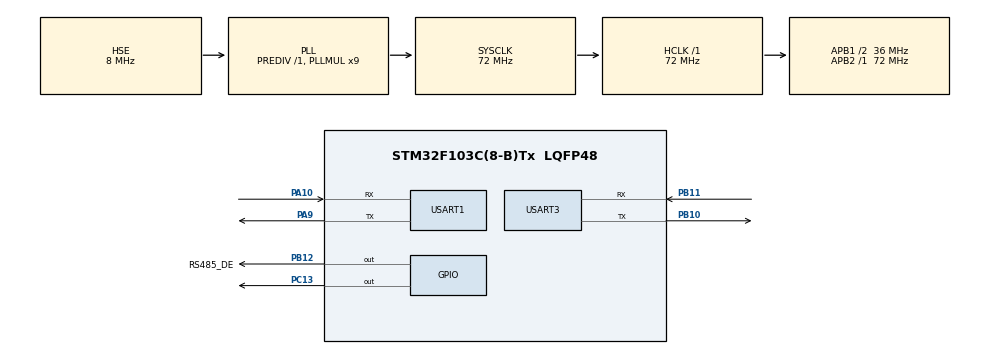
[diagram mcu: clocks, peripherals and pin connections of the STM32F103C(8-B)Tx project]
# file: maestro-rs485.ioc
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Mcu.Family=STM32F1
Mcu.Name=STM32F103C(8-B)Tx
Mcu.Package=LQFP48
NVIC.PriorityGroup=NVIC_PRIORITYGROUP_4
NVIC.USART1_IRQn=true\:0\:0\:false\:false\:true\:true\:true\:true
NVIC.USART3_IRQn=true\:0\:0\:false\:false\:true\:true\:true\:true
PA10.Mode=Asynchronous
PA10.Signal=USART1_RX
PA9.Mode=Asynchronous
PA9.Signal=USART1_TX
PB10.Mode=Asynchronous
PB10.Signal=USART3_TX
PB11.Mode=Asynchronous
PB11.Signal=USART3_RX
PB12.GPIO_Label=RS485_DE
PB12.Signal=GPIO_Output
PC13-TAMPER-RTC.Signal=GPIO_Output
PD0-OSC_IN.Mode=HSE-External-Oscillator
PD0-OSC_IN.Signal=RCC_OSC_IN
PD1-OSC_OUT.Mode=HSE-External-Oscillator
PD1-OSC_OUT.Signal=RCC_OSC_OUT
ProjectManager.HeapSize=0x200
ProjectManager.StackSize=0x400
ProjectManager.TargetToolchain=STM32CubeIDE
RCC.AHBFreq_Value=72000000
RCC.APB1CLKDivider=RCC_HCLK_DIV2
RCC.APB1Freq_Value=36000000
RCC.APB1TimFreq_Value=72000000
RCC.APB2Freq_Value=72000000
RCC.APB2TimFreq_Value=72000000
RCC.HCLKFreq_Value=72000000
RCC.PLLMUL=RCC_PLL_MUL9
RCC.PLLSourceVirtual=RCC_PLLSOURCE_HSE
RCC.SYSCLKFreq_VALUE=72000000
RCC.SYSCLKSource=RCC_SYSCLKSOURCE_PLLCLK
RCC.USBFreq_Value=72000000
USART1.VirtualMode=VM_ASYNC
USART3.VirtualMode=VM_ASYNC
VP_SYS_VS_ND.Mode=No_Debug
board=custom

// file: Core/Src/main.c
/* USER CODE BEGIN Header */

/* USER CODE END Header */
#include "main.h"
#include "usart.h"
#include "gpio.h"

/* USER CODE BEGIN Includes */
#include "rs485.h"
#include "protocolo_rs485.h"
#include <stdint.h>
#include <stdio.h>
#include <string.h>
/* USER CODE END Includes */

/* USER CODE BEGIN PTD */

typedef enum
{
	M_INACTIVO = 0,
	M_ACTIVO = 1,
	M_ALARMA = 2
} EstadoMaestro;

/* USER CODE END PTD */

/* USER CODE BEGIN PD */
#define PC_CMD_BUFFER_SIZE       24

#define RESPUESTA_TIMEOUT_MS          1000
#define RESPUESTA_TIMEOUT_LARGO_MS    10000 //para las operaciones de la cinta que pueden tardar mas

#define PING_PARAM_H             0x12
#define PING_PARAM_L             0x34

#define POLLING_PERIODO_MS            50
#define POLLING_TIMEOUT_MS            100

#define SUPERVISION_PERIODO_MS 500
/* USER CODE END PD */

/* USER CODE BEGIN PV */
static EstadoMaestro estado_maestro = M_INACTIVO;

//variables para recibir comandos por la USART1
static uint8_t pc_rx_byte = 0;
static char pc_cmd_buffer[PC_CMD_BUFFER_SIZE];
static volatile uint8_t pc_cmd_indice = 0;
static volatile uint8_t pc_recibiendo = 0;
static volatile uint8_t pc_comando_listo = 0;

//variables para el RS485
static uint8_t esperando_respuesta = 0; //1 → ya mandamos algo
static uint8_t nodo_esperado = 0;
static uint8_t comando_pendiente = 0;
static uint16_t valor_pendiente = 0; //guarda el valor de 16 bits que hay en PARAM_L y PARAM_H
static uint32_t tick_respuesta = 0;
static uint32_t timeout_respuesta_ms = RESPUESTA_TIMEOUT_MS;
static char mensaje_pc[160]; //buffer auxiliar para construir textos con snprintf() y mostrar por pantalla

//variables manejo de eventos nodos
static uint8_t ack_evento_cinta_pendiente = 0;
static uint16_t ack_evento_cinta_secuencia = 0;
static uint16_t ultima_secuencia_evento_cinta = 0;
static uint8_t ultima_secuencia_evento_cinta_valida = 0;  //para no ejecutar dos veces la misma accion automática

static uint8_t ack_evento_peso_cinta_pendiente = 0;
static uint16_t ack_evento_peso_cinta_valor = 0;
static uint8_t peso_evento_ciclo_actual_mostrado = 0;

static uint8_t ack_evento_tanque_pendiente = 0;
static uint16_t ack_evento_tanque_secuencia = 0;
static uint16_t ultima_secuencia_evento_tanque = 0;
static uint8_t ultima_secuencia_evento_tanque_valida = 0;

static uint8_t inicio_dosif_automatico_pendiente = 0;
static uint8_t continuar_cinta_automatico_pendiente = 0;
static uint8_t ciclo_esperando_receta = 0;

static uint8_t nodo_polling_siguiente = ID_CINTA;
static uint32_t tick_polling = 0;

static uint32_t tick_supervision = 0;
static uint8_t nodo_supervision_siguiente = ID_TANQUE;
static uint8_t flag_consulta_supervision = 0;

static uint8_t parada_sistema_etapa = 0; //convierte la parada global en una pequeña secuencia

/* USER CODE END PV */

void SystemClock_Config(void);
/* USER CODE BEGIN PFP */
static void PC_Enviar(const char *texto);
static uint8_t PC_Parsear_UInt16(const char *texto, uint16_t *valor);
static void PC_Procesar_Comando(void);

static void Maestro_Enviar_Trama(uint8_t destino, uint8_t comando, uint8_t param_h, uint8_t param_l, const char *mensaje);
static void Maestro_Procesar_RS485(void);
static void Maestro_Procesar_Polling(void);
static void Maestro_Procesar_Timeout(void);
static uint8_t Maestro_Procesar_ACK_NACK(uint8_t origen,uint8_t comando,uint8_t param_h,uint8_t param_l);

static const char *Maestro_Nombre_Comando(uint8_t comando);
static const char *Maestro_Descripcion_Error(uint8_t codigo);
static const char *Maestro_Nombre_Alarma_Tanque(uint8_t alarma);
static const char *Maestro_Nombre_Estado_Dosificador(uint8_t estado);
static const char *Maestro_Nombre_Presencia_Botella(uint8_t presente);
static const char *Maestro_Nombre_Estado_Cinta(uint8_t estado);
static const char *Maestro_Nombre_Subestado_Cinta(uint8_t subestado);

static void Maestro_Confirmar_Evento_Cinta(void);
static void Maestro_Confirmar_Evento_Peso_Cinta(void);
static void Maestro_Confirmar_Evento_Tanque(void);
static void Maestro_Procesar_Inicio_Dosif_Automatico(void);
static void Maestro_Procesar_Continuacion_Cinta_Automatica(void);

static void Maestro_Entrar_Alarma(const char *motivo);
static void Maestro_Procesar_Parada_Sistema(void);
/* USER CODE END PFP */

int main(void)
{

  /* MCU Configuration--------------------------------------------------------*/

  /* Reset of all peripherals, Initializes the Flash interface and the Systick. */
  HAL_Init();

  /* Configure the system clock */
  SystemClock_Config();

  /* Initialize all configured peripherals */
  MX_GPIO_Init();
  MX_USART1_UART_Init();
  MX_USART3_UART_Init();
  /* USER CODE BEGIN 2 */

    if (RS485_Init(&huart3, RS485_DE_GPIO_Port, RS485_DE_Pin, ID_MAESTRO) != HAL_OK)
    {
        Error_Handler();
    }

    if (HAL_UART_Receive_IT(&huart1, &pc_rx_byte, 1) != HAL_OK)
    {
        Error_Handler();
    }

    PC_Enviar("\r\nMAESTRO RS485 INICIADO\r\n");

    PC_Enviar(":MN    = ESTADO GENERAL DEL MAESTRO\r\n");
    PC_Enviar(":MA1   = ACTIVAR SISTEMA\r\n");
    PC_Enviar(":MA0   = DESACTIVAR SISTEMA\r\n");
    PC_Enviar(":MR1   = RESETEAR ALARMA\r\n");

    PC_Enviar(":TP    = PING TANQUE\r\n");
    PC_Enviar(":TN    = ESTADO TANQUE\r\n");
    PC_Enviar(":TM    = ESTADO DOSIFICADOR\r\n");
    PC_Enviar(":TS15  = SETPOINT TANQUE 15 cm\r\n");
    PC_Enviar(":TR500 = RECETA 500 ml\r\n");
    PC_Enviar(":TI1   = INICIAR DOSIFICACION\r\n");
    PC_Enviar(":TI0   = ABORTAR DOSIFICACION\r\n");
    PC_Enviar(":TA1   = RESETEAR ALARMA\r\n");

    PC_Enviar(":CP    = PING CINTA\r\n");
    PC_Enviar(":CN    = ESTADO CINTA\r\n");
    PC_Enviar(":CC1   = ENTRAR EN CONFIGURACION CINTA\r\n");
    PC_Enviar(":CT1   = HACER TARA\r\n");
    PC_Enviar(":CF500 = CALIBRAR CON 500 g\r\n");
    PC_Enviar(":CA1   = ACTIVAR CINTA\r\n");
    PC_Enviar(":CA0   = DESACTIVAR CINTA\r\n");
    PC_Enviar(":CB1   = ARRANCAR BANDA\r\n");
    PC_Enviar(":CB0   = DETENER BANDA\r\n");
    PC_Enviar(":CD1   = CONTINUAR PESAJE\r\n");

  /* USER CODE END 2 */

  /* Infinite loop */
  while (1)
  {

    /* USER CODE BEGIN 3 */
        Maestro_Procesar_RS485(); //recepcion de tramas
        Maestro_Procesar_Timeout();

        Maestro_Procesar_Parada_Sistema();  //si hay hay que realizar una parada lo hacemos

        Maestro_Confirmar_Evento_Cinta();
        Maestro_Procesar_Inicio_Dosif_Automatico();

        Maestro_Confirmar_Evento_Tanque();
        Maestro_Procesar_Continuacion_Cinta_Automatica();

        Maestro_Confirmar_Evento_Peso_Cinta();

        //procesar comando del usuario si el RS485 está libre y no hay acciones automáticas importantes pendientes.
        if ((pc_comando_listo != 0) && (esperando_respuesta == 0) && (ack_evento_cinta_pendiente == 0) &&
        		(ack_evento_peso_cinta_pendiente == 0) && (ack_evento_tanque_pendiente == 0) && (inicio_dosif_automatico_pendiente == 0) &&
                (continuar_cinta_automatico_pendiente == 0))
		{
			pc_comando_listo = 0;
			PC_Procesar_Comando();
		}

        Maestro_Procesar_Polling();
  /* USER CODE END 3 */
  }
}

void SystemClock_Config(void)
{
  RCC_OscInitTypeDef RCC_OscInitStruct = {0};
  RCC_ClkInitTypeDef RCC_ClkInitStruct = {0};

  /** Initializes the RCC Oscillators according to the specified parameters
  * in the RCC_OscInitTypeDef structure.
  */
  RCC_OscInitStruct.OscillatorType = RCC_OSCILLATORTYPE_HSE;
  RCC_OscInitStruct.HSEState = RCC_HSE_ON;
  RCC_OscInitStruct.HSEPredivValue = RCC_HSE_PREDIV_DIV1;
  RCC_OscInitStruct.HSIState = RCC_HSI_ON;
  RCC_OscInitStruct.PLL.PLLState = RCC_PLL_ON;
  RCC_OscInitStruct.PLL.PLLSource = RCC_PLLSOURCE_HSE;
  RCC_OscInitStruct.PLL.PLLMUL = RCC_PLL_MUL9;
  if (HAL_RCC_OscConfig(&RCC_OscInitStruct) != HAL_OK)
  {
    Error_Handler();
  }

  /** Initializes the CPU, AHB and APB buses clocks
  */
  RCC_ClkInitStruct.ClockType = RCC_CLOCKTYPE_HCLK|RCC_CLOCKTYPE_SYSCLK
                              |RCC_CLOCKTYPE_PCLK1|RCC_CLOCKTYPE_PCLK2;
  RCC_ClkInitStruct.SYSCLKSource = RCC_SYSCLKSOURCE_PLLCLK;
  RCC_ClkInitStruct.AHBCLKDivider = RCC_SYSCLK_DIV1;
  RCC_ClkInitStruct.APB1CLKDivider = RCC_HCLK_DIV2;
  RCC_ClkInitStruct.APB2CLKDivider = RCC_HCLK_DIV1;

  if (HAL_RCC_ClockConfig(&RCC_ClkInitStruct, FLASH_LATENCY_2) != HAL_OK)
  {
    Error_Handler();
  }
}

/* USER CODE BEGIN 4 */

static void PC_Enviar(const char *texto)
{
    if (texto == NULL)
    {
        return;
    }

    (void)HAL_UART_Transmit(&huart1, (uint8_t *)texto, (uint16_t)strlen(texto), 100U);
}

static uint8_t PC_Parsear_UInt16(const char *texto, uint16_t *valor) //para convertir texto a numeros "1234" → 1234
{
    uint32_t acumulado = 0; //auxiliar para detectar si se pasa del tamaño

    if ((texto == NULL) || (valor == NULL) || (*texto == '\0'))
    {
        return 0;
    }

    while (*texto != '\0') //recorrer la cadena hasta el final
    {
        uint32_t digito;

        if ((*texto < '0') || (*texto > '9')) //comprobamos que sea un numero
        {
            return 0;
        }

        digito = (uint32_t)(*texto - '0');  //conversion a numero

        if (acumulado > ((65535 - digito) / 10)) //para no superar el tamañno maximo permitido
        {
            return 0;
        }

        acumulado = (acumulado * 10) + digito;
        texto++;
    }

    *valor = (uint16_t)acumulado;
    return 1;
}

static void Maestro_Entrar_Alarma(const char *motivo)
{
    if (estado_maestro == M_ALARMA) //si ya esta en alarma
    {
        return;
    }

    estado_maestro = M_ALARMA;

    //cancela automatismos
    inicio_dosif_automatico_pendiente = 0;
    continuar_cinta_automatico_pendiente = 0;
    ciclo_esperando_receta = 0;

    parada_sistema_etapa = 1;    //bandera para iniciar la parada

    PC_Enviar("\r\n*** SISTEMA EN ALARMA ***\r\n");

    if (motivo != NULL)
    {
        (void)snprintf(mensaje_pc, sizeof(mensaje_pc), "CAUSA: %s\r\n", motivo);
        PC_Enviar(mensaje_pc);
    }
}

static void Maestro_Procesar_Parada_Sistema(void)
{
    if (parada_sistema_etapa == 0)  //si hay una secuencia de parada pendiente procesala, sino sali
    {
        return;
    }

    if (esperando_respuesta != 0) //si hay un mensaje esperando, volvems
    {
        return;
    }

    switch (parada_sistema_etapa)
    {
        case 1: //detener dosificador

            if (RS485_Send_Packet(ID_TANQUE, CMD_TANQUE_CONTROL_DOSIF, 0, 0) == HAL_OK)
            {
                esperando_respuesta = 1;
                nodo_esperado = ID_TANQUE;
                comando_pendiente = CMD_TANQUE_CONTROL_DOSIF;
                valor_pendiente = 0;

                tick_respuesta = HAL_GetTick();
                timeout_respuesta_ms = RESPUESTA_TIMEOUT_MS;

                parada_sistema_etapa = 2;
                PC_Enviar("PARADA -> TANQUE: ABORTAR DOSIFICACION\r\n");
            }

            break;

        case 2: //desactivar cinta

            if (RS485_Send_Packet(ID_CINTA, CMD_CINTA_ACTIVAR, 0, 0) == HAL_OK)
            {
                esperando_respuesta = 1;
                nodo_esperado = ID_CINTA;
                comando_pendiente = CMD_CINTA_ACTIVAR;
                valor_pendiente = 0;

                tick_respuesta = HAL_GetTick();
                timeout_respuesta_ms = RESPUESTA_TIMEOUT_MS;

                parada_sistema_etapa = 3;
                PC_Enviar("PARADA -> CINTA: DESACTIVAR\r\n");
            }

            break;

        case 3:

            parada_sistema_etapa = 0;
            PC_Enviar("*** SECUENCIA DE PARADA FINALIZADA ***\r\n");

            break;

        default:
            break;
    }
}

static void Maestro_Enviar_Trama(uint8_t destino, uint8_t comando, uint8_t param_h, uint8_t param_l, const char *mensaje)
{
    HAL_StatusTypeDef estado;

    if (esperando_respuesta != 0) //ver si esperaba una rta
    {
        PC_Enviar("ERROR: RS485 OCUPADO, ESPERE LA RESPUESTA ACTUAL\r\n");
        return;
    }

    //comprobamos que no existan confirmaciones o acciones AUTOM. pendientes
    if ((ack_evento_cinta_pendiente != 0) ||
        (ack_evento_peso_cinta_pendiente != 0) ||
        (ack_evento_tanque_pendiente != 0) ||
        (inicio_dosif_automatico_pendiente != 0) ||
        (continuar_cinta_automatico_pendiente != 0))
    {
        PC_Enviar("ERROR: ACCION AUTOMATICA PENDIENTE, ESPERE\r\n");
        return;
    }

    estado = RS485_Send_Packet(destino, comando, param_h, param_l);

    if (estado != HAL_OK)
    {
        PC_Enviar("ERROR: NO SE PUDO TRANSMITIR POR RS485\r\n");
        return;
    }

    //si se envia correctamente, guardamos todos estos datos en memoria para comprobar y sabemos perfectamente que respuesta esperamos
    esperando_respuesta = 1;
    nodo_esperado = destino;
    comando_pendiente = comando;
    valor_pendiente = (uint16_t)(((uint16_t)param_h << 8) | param_l);
    tick_respuesta = HAL_GetTick();

    if ((comando == CMD_CINTA_TARA) || (comando == CMD_CINTA_CALIBRAR))
    {
        timeout_respuesta_ms = RESPUESTA_TIMEOUT_LARGO_MS;
    }
    else
    {
        timeout_respuesta_ms = RESPUESTA_TIMEOUT_MS;
    }

    if (mensaje != NULL)
    {
        PC_Enviar(mensaje);
    }
}

static void PC_Procesar_Comando(void)
{
    char nodo;
    char comando;
    uint16_t valor = 0U;
    const char *parametro;

    if ((pc_cmd_buffer[0] == '\0') ||(pc_cmd_buffer[1] == '\0')){ //VERFICAMOS MENSAJE
        PC_Enviar("ERROR: COMANDO INCOMPLETO\r\n");
        return;
    }

    nodo = pc_cmd_buffer[0];
    comando = pc_cmd_buffer[1];
    parametro = &pc_cmd_buffer[2];

    if ((nodo >= 'a') && (nodo <= 'z')){ //convertimos a mayuscula
        nodo = (char)(nodo - ('a' - 'A'));
    }
    if ((comando >= 'a') && (comando <= 'z')){
        comando = (char)(comando - ('a' - 'A'));
    }

    switch (nodo) //identificamos nodo
    {
        case 'M': //maestro
            switch (comando)
            {
                case 'N': //estado de maestro
                    if (*parametro != '\0') {
                        PC_Enviar( "ERROR: :MN NO RECIBE PARAMETROS\r\n");
                        return;
                    }
                    switch (estado_maestro)
                    {
                        case M_INACTIVO:
                            PC_Enviar("MAESTRO: INACTIVO\r\n");
                            break;

                        case M_ACTIVO:
                            PC_Enviar("MAESTRO: ACTIVO\r\n");
                            break;

                        case M_ALARMA:
                            PC_Enviar("MAESTRO: ALARMA\r\n");
                            break;

                        default:
                            PC_Enviar(
                                "MAESTRO: ESTADO DESCONOCIDO\r\n"
                            );
                            break;
                    }
                    break;

                case 'A': //activar/desactivar sistema
                    if ((PC_Parsear_UInt16(parametro, &valor) == 0) ||(valor > 1))
                    {
                        PC_Enviar("ERROR: USE :MA0 O :MA1\r\n" ); //verificamos pametro correcto
                        return;
                    }
                    if (valor == 0) { //desactivar
                        if (estado_maestro == M_ALARMA)  {
                            PC_Enviar("ERROR: SISTEMA EN ALARMA.\r\n");
                            return;
                        }
                        inicio_dosif_automatico_pendiente = 0; //cancelar automaticos pendientes
                        continuar_cinta_automatico_pendiente = 0;
                        ciclo_esperando_receta = 0;

                        estado_maestro = M_INACTIVO;
                        parada_sistema_etapa = 1; //inicia secuencia de pararda
                        PC_Enviar("MAESTRO: SISTEMA INACTIVO\r\n");
                    } else { //activar
                        if (estado_maestro == M_ALARMA){
                            PC_Enviar( "ERROR: SISTEMA EN ALARMA.\r\n");
                            return;
                        }
                        estado_maestro = M_ACTIVO;

                        tick_polling = HAL_GetTick();//reiniciar polling
                        nodo_polling_siguiente = ID_CINTA;

                        PC_Enviar("MAESTRO: SISTEMA ACTIVO\r\n" );
                    }
                    break;

                case 'R': //reset alarma maestro
                    if ((PC_Parsear_UInt16(parametro, &valor) == 0) ||(valor != 1)) {
                        PC_Enviar( "ERROR: USE :MR1\r\n" );
                        return;
                    }
                    if (estado_maestro != M_ALARMA) {
                        PC_Enviar( "MAESTRO: NO HAY ALARMA ACTIVA\r\n" );
                        return;
                    }
                    parada_sistema_etapa = 0; //cancelamos secuencia de parada
                    estado_maestro = M_INACTIVO;

                    PC_Enviar("MAESTRO: ALARMA RESETEADA. SISTEMA INACTIVO\r\n"  );
                    break;

                default: //no existe comando
                    PC_Enviar("ERROR: COMANDO INVALIDO PARA MAESTRO\r\n" );
                    break;
            }
            break;

        case 'T': // tanque
            switch (comando)
            {
                case 'P': //ping pong
                    if (*parametro != '\0') {
                        PC_Enviar( "ERROR: :TP NO RECIBE PARAMETROS\r\n" );
                        return;
                    }
                    Maestro_Enviar_Trama(ID_TANQUE,CMD_PING,PING_PARAM_H,PING_PARAM_L,
                    		"TX -> TANQUE: PING\r\n");
                    break;

                case 'N': //consulta estado tanque
                    if (*parametro != '\0'){
                        PC_Enviar("ERROR: :TN NO RECIBE PARAMETROS\r\n" );
                        return;
                    }
                    Maestro_Enviar_Trama( ID_TANQUE, CMD_PEDIR_ESTADO_TANQUE, 0, 0,
                        "TX -> TANQUE: PEDIR ESTADO\r\n");
                    break;

                case 'M': //consulta estado dosificador
                    if (*parametro != '\0') {
                        PC_Enviar( "ERROR: :TM NO RECIBE PARAMETROS\r\n");
                        return;
                    }
                    Maestro_Enviar_Trama(ID_TANQUE,CMD_PEDIR_ESTADO_DOSIF,0,0,
                        "TX -> TANQUE: PEDIR ESTADO DOSIFICADOR\r\n");
                    break;

                case 'S': //configurar setpoint

                    if (PC_Parsear_UInt16(parametro, &valor) == 0U) {
                        PC_Enviar("ERROR: SETPOINT INVALIDO\r\n");
                        return;
                    }
                    Maestro_Enviar_Trama( ID_TANQUE, CMD_TANQUE_SETPOINT, (uint8_t)(valor >> 8U), (uint8_t)(valor & 0xFFU),
                        "TX -> TANQUE: CONFIGURAR SETPOINT\r\n" );
                    break;

                case 'R': //configurar receta
                    if (PC_Parsear_UInt16(parametro, &valor) == 0U){
                        PC_Enviar( "ERROR: RECETA INVALIDA\r\n");
                        return;
                    }

                    Maestro_Enviar_Trama( ID_TANQUE, CMD_TANQUE_RECETA, (uint8_t)(valor >> 8U), (uint8_t)(valor & 0xFFU),
                        "TX -> TANQUE: CONFIGURAR RECETA\r\n");
                    break;

                case 'I': //abortar,iniciar dosificacion
                    if ((PC_Parsear_UInt16(parametro, &valor) == 0U) || (valor > 1U)){
                        PC_Enviar( "ERROR: USE :TI0 O :TI1\r\n");
                        return;
                    }

                    if ((valor == 1) && (estado_maestro != M_ACTIVO)) { //inicia si M_ACTIVO
                        PC_Enviar( "ERROR: EL SISTEMA NO ESTA ACTIVO\r\n");
                        return;
                    }
                    Maestro_Enviar_Trama( ID_TANQUE,CMD_TANQUE_CONTROL_DOSIF,0,(uint8_t)valor,(valor == 1)
                            ? "TX -> TANQUE: INICIAR DOSIFICACION\r\n"
                            : "TX -> TANQUE: ABORTAR DOSIFICACION\r\n");
                    break;

                case 'A': //resetea alarma de tanque
                    if ((PC_Parsear_UInt16(parametro, &valor) == 0) ||(valor != 1)){
                        PC_Enviar( "ERROR: USE :TA1\r\n");
                        return;
                    }
                    Maestro_Enviar_Trama(ID_TANQUE,  CMD_TANQUE_RESET_ALARMA,0,1,
                        "TX -> TANQUE: RESETEAR ALARMA\r\n"  );

                    break;

                default: //no existe comando
                    PC_Enviar( "ERROR: COMANDO INVALIDO PARA TANQUE\r\n");
                    break;
            }
            break;

        case 'C': //cinta
            switch (comando)
            {
                case 'P': //ping pong
                    if (*parametro != '\0') {
                        PC_Enviar( "ERROR: :CP NO RECIBE PARAMETROS\r\n" );
                        return;
                    }

                    Maestro_Enviar_Trama( ID_CINTA, CMD_PING, PING_PARAM_H, PING_PARAM_L,
                    		"TX -> CINTA: PING\r\n");
                    break;

                case 'N': //consultar estado cinta
                    if (*parametro != '\0'){
                        PC_Enviar("ERROR: :CN NO RECIBE PARAMETROS\r\n");
                        return;
                    }
                    Maestro_Enviar_Trama( ID_CINTA, CMD_PEDIR_ESTADO_CINTA, 0, 0,
                        "TX -> CINTA: PEDIR ESTADO\r\n");
                    break;

                case 'C': // :CC1 configuracion balanza
                    if ((PC_Parsear_UInt16(parametro, &valor) == 0U) ||(valor != 1U)) {
                        PC_Enviar("ERROR: USE :CC1\r\n");
                        return;
                    }
                    Maestro_Enviar_Trama(ID_CINTA,CMD_CINTA_CONFIGURAR, 0, 1,
                        "TX -> CINTA: ENTRAR EN CONFIGURACION\r\n");
                    break;

                case 'T': //tara :CT1
                    if ((PC_Parsear_UInt16(parametro, &valor) == 0U) ||(valor != 1U)) {
                        PC_Enviar("ERROR: USE :CT1\r\n" );
                        return;
                    }
                    Maestro_Enviar_Trama( ID_CINTA, CMD_CINTA_TARA, 0, 1,
                        "TX -> CINTA: HACER TARA\r\n");
                    break;

                case 'F': //calibracion con peso patron
                    if (PC_Parsear_UInt16(parametro, &valor) == 0) {
                        PC_Enviar("ERROR: PESO DE CALIBRACION INVALIDO\r\n" );
                        return;
                    }
                    Maestro_Enviar_Trama(ID_CINTA,CMD_CINTA_CALIBRAR,(uint8_t)(valor >> 8U),(uint8_t)(valor & 0xFFU),
                        "TX -> CINTA: CALIBRAR HX711\r\n");
                    break;

                case 'A': // Desactivar / activar cinta
                    if ((PC_Parsear_UInt16(parametro, &valor) == 0) || (valor > 1)){
                        PC_Enviar("ERROR: USE :CA0 O :CA1\r\n");
                        return;
                    }
                    if ((valor == 1U) &&(estado_maestro != M_ACTIVO)) {
                    	PC_Enviar( "ERROR: EL SISTEMA NO ESTA ACTIVO\r\n" );
                        return;
                    }
                    Maestro_Enviar_Trama(ID_CINTA,CMD_CINTA_ACTIVAR, 0, (uint8_t)valor, (valor == 1)
                            ? "TX -> CINTA: ACTIVAR\r\n"
                            : "TX -> CINTA: DESACTIVAR\r\n");
                    break;
                case 'B':// :CB0 / :CB1 Detener / arrancar banda
                    if ((PC_Parsear_UInt16(parametro, &valor) == 0U) ||(valor > 1U)) {
                        PC_Enviar("ERROR: USE :CB0 O :CB1\r\n" );
                        return;
                    }
                    if ((valor == 1U) && (estado_maestro != M_ACTIVO))  {
                        PC_Enviar( "ERROR: EL SISTEMA NO ESTA ACTIVO\r\n"  );
                        return;
                    }

                    Maestro_Enviar_Trama( ID_CINTA,  CMD_CINTA_CONTROL_BANDA, 0, (uint8_t)valor, (valor == 1)
                            ? "TX -> CINTA: ARRANCAR BANDA\r\n"
                            : "TX -> CINTA: DETENER BANDA\r\n");
                    break;

                case 'D': // CD1 continuar pesaje

                    if ((PC_Parsear_UInt16(parametro, &valor) == 0U) || (valor != 1U)){ PC_Enviar(
                            "ERROR: USE :CD1\r\n" );
                        return;
                    }
                    if (estado_maestro != M_ACTIVO){
                        PC_Enviar( "ERROR: EL SISTEMA NO ESTA ACTIVO\r\n" );
                        return;
                    }
                    Maestro_Enviar_Trama( ID_CINTA, CMD_CINTA_CONTINUAR_PESAJE, 0, 1,
                        "TX -> CINTA: CONTINUAR PESAJE\r\n" );
                    break;

                default: //comandos no existentes
                    PC_Enviar("ERROR: COMANDO INVALIDO PARA CINTA\r\n"  );
                    break;
            }
            break;

        default: //nodo invalido
            PC_Enviar("ERROR: NODO INVALIDO. USE T, C o M\r\n" );
            break;
    }
}
static void Maestro_Confirmar_Evento_Cinta(void) //confirma que el maestro recibió el evento para que la cinta no lo mande mas
{
	//Hay un evento de la cinta pendiente de confirmar y el maestro no está esperando la respuesta de otra solicitud.
    if ((ack_evento_cinta_pendiente == 0) || (esperando_respuesta == 1))
    {
        return;
    }

    HAL_Delay(5);

    if (RS485_Send_Packet(ID_CINTA, CMD_CONFIRMAR_EVENTO_CINTA, (uint8_t)(ack_evento_cinta_secuencia >> 8),
            (uint8_t)(ack_evento_cinta_secuencia & 0xFF)) == HAL_OK)
    {
        ack_evento_cinta_pendiente = 0;
    }
}

static void Maestro_Procesar_Inicio_Dosif_Automatico(void)
{
	if (estado_maestro != M_ACTIVO)
	{
		return;
	}

    HAL_StatusTypeDef estado;

    if (inicio_dosif_automatico_pendiente == 0)
    {
        return;
    }

    if ((ack_evento_cinta_pendiente != 0) || (esperando_respuesta != 0)) //espera que se haya enviado el ACK y que este libre
    {
        return;
    }

    HAL_Delay(5);

    //mandamos comando :TI1
    estado = RS485_Send_Packet(ID_TANQUE, CMD_TANQUE_CONTROL_DOSIF, 0, 1);

    if (estado != HAL_OK)
    {
        inicio_dosif_automatico_pendiente = 0;
        PC_Enviar("ERROR: NO SE PUDO INICIAR AUTOMATICAMENTE "
            "EL DOSIFICADOR. USE :TI1\r\n");
        return;
    }

    esperando_respuesta = 1;
    nodo_esperado = ID_TANQUE;
    comando_pendiente = CMD_TANQUE_CONTROL_DOSIF;
    valor_pendiente = 1;

    tick_respuesta = HAL_GetTick();
    timeout_respuesta_ms = RESPUESTA_TIMEOUT_MS;

    PC_Enviar("TX AUTOMATICO -> TANQUE: INICIAR DOSIFICACION\r\n");
}

static void Maestro_Confirmar_Evento_Tanque(void)
{
    if ((ack_evento_tanque_pendiente == 0) || (esperando_respuesta == 1))
    {
        return;
    }

    HAL_Delay(5);

    if (RS485_Send_Packet(ID_TANQUE, CMD_CONFIRMAR_EVENTO_TANQUE, (uint8_t)(ack_evento_tanque_secuencia >> 8),
            (uint8_t)(ack_evento_tanque_secuencia & 0xFF)) == HAL_OK)
    {
        ack_evento_tanque_pendiente = 0;  //se envia la confirmacion y se elimina el flag
    }
}

static void Maestro_Procesar_Continuacion_Cinta_Automatica(void)
{
	if (estado_maestro != M_ACTIVO)
	    {
	        return;
	    }

    HAL_StatusTypeDef estado;

    if (continuar_cinta_automatico_pendiente == 0)
    {
        return;
    }

    if ((ack_evento_tanque_pendiente != 0) || (esperando_respuesta != 0))
    {
        return;
    }

    HAL_Delay(5);

    //mandamos :CD1
    estado = RS485_Send_Packet(ID_CINTA, CMD_CINTA_CONTINUAR_PESAJE, 0, 1);

    if (estado != HAL_OK)
    {
        continuar_cinta_automatico_pendiente = 0;
        PC_Enviar("ERROR: NO SE PUDO CONTINUAR AUTOMATICAMENTE "
            "LA CINTA. USE :CD1\r\n");
        return;
    }

    continuar_cinta_automatico_pendiente = 0;

    esperando_respuesta = 1;
    nodo_esperado = ID_CINTA;
    comando_pendiente = CMD_CINTA_CONTINUAR_PESAJE;
    valor_pendiente = 1;

    tick_respuesta = HAL_GetTick();
    timeout_respuesta_ms = RESPUESTA_TIMEOUT_MS;

    PC_Enviar("TX AUTOMATICO -> CINTA: CONTINUAR PESAJE\r\n");
}

static void Maestro_Confirmar_Evento_Peso_Cinta(void)
{
    if ((ack_evento_peso_cinta_pendiente == 0) || (esperando_respuesta != 0))
    {
        return;
    }

    HAL_Delay(5);

    if (RS485_Send_Packet(ID_CINTA, CMD_CONFIRMAR_EVENTO_CINTA_PESAJE, (uint8_t)(ack_evento_peso_cinta_valor >> 8),
            (uint8_t)(ack_evento_peso_cinta_valor & 0xFF)) == HAL_OK)
    {
        ack_evento_peso_cinta_pendiente = 0;
    }
}

static void Maestro_Procesar_Polling(void)
{
    uint32_t ahora;
    uint8_t destino;
    uint8_t comando;

    if (parada_sistema_etapa != 0) //si estamos procesando una parada le damos prioridad
    {
        return;
    }

    if (estado_maestro == M_ALARMA)
    {
        return;
    }

    if (esperando_respuesta != 0)
    {
        return;
    }

    if (pc_comando_listo != 0)
    {
        return;
    }

    uint8_t consulta_supervision = 0;
    ahora = HAL_GetTick();

    //primero → supervisión de estado y alarmas general
    if ((ahora - tick_supervision) >= SUPERVISION_PERIODO_MS)
    {
        tick_supervision = ahora;
        consulta_supervision = 1;

        if (nodo_supervision_siguiente == ID_TANQUE)
        {
            destino = ID_TANQUE;
            comando = CMD_PEDIR_ESTADO_TANQUE;
        }
        else
        {
            destino = ID_CINTA;
            comando = CMD_PEDIR_ESTADO_CINTA;
        }
    } else //polling de eventos automáticos
    {
        //se realizan solo con el sistema en activo
        if (estado_maestro != M_ACTIVO)
        {
            return;
        }

        // las acciones del proceso automático tienen prioridad
        if ((ack_evento_cinta_pendiente != 0) || (ack_evento_peso_cinta_pendiente != 0) || (ack_evento_tanque_pendiente != 0) ||
            (inicio_dosif_automatico_pendiente != 0) || (continuar_cinta_automatico_pendiente != 0))
        {
            return;
        }

        if ((ahora - tick_polling) < POLLING_PERIODO_MS) //si todavia no paso el tiempo suficiente, salir
        {
            return;
        }

        tick_polling = ahora;

        if (nodo_polling_siguiente == ID_CINTA)
        {
            destino = ID_CINTA;
            comando = CMD_PEDIR_EVENTO_CINTA;
        }
        else
        {
            destino = ID_TANQUE;
            comando = CMD_PEDIR_EVENTO_TANQUE;
        }
    }

    //envio comun de la trama
    if (RS485_Send_Packet(destino, comando, 0, 0) != HAL_OK)
    {
        return;
    }

    esperando_respuesta = 1;
    nodo_esperado = destino;
    comando_pendiente = comando;
    valor_pendiente = 0;

    flag_consulta_supervision = consulta_supervision;

    tick_respuesta = HAL_GetTick();
    timeout_respuesta_ms = POLLING_TIMEOUT_MS;

    //cambiamos de nodo
    if (consulta_supervision == 1) //si se realizo la consulta de supervisión
    {
        if (nodo_supervision_siguiente == ID_TANQUE)
        {
            nodo_supervision_siguiente = ID_CINTA;
        }
        else
        {
            nodo_supervision_siguiente = ID_TANQUE;
        }
    }
    else
    {
        if (nodo_polling_siguiente == ID_CINTA)
        {
            nodo_polling_siguiente = ID_TANQUE;
        }
        else
        {
            nodo_polling_siguiente = ID_CINTA;
        }
    }
}

static void Maestro_Procesar_RS485(void)
{

    if (rs485_paquete_listo == 0U){ //verificamos recepcion paquete
        return;
    }
    uint8_t origen = rs485_rx_origen;
    uint8_t comando = rs485_rx_cmd;
    uint8_t param_h = rs485_rx_param_h;
    uint8_t param_l = rs485_rx_param_l;
    uint8_t respuesta_aceptada = 0;

    rs485_paquete_listo = 0;

    if (esperando_respuesta == 0U) {
        (void)snprintf( mensaje_pc,  sizeof(mensaje_pc),"RX NO SOLICITADO: ORIGEN=%u CMD=0x%02X\r\n",origen,comando );
        PC_Enviar(mensaje_pc);
        return;
    }

    if (origen != nodo_esperado){
        (void)snprintf( mensaje_pc,sizeof(mensaje_pc), "RTA INESPERADA: ORIGEN=%u CMD=0x%02X\r\n",origen,comando);
        PC_Enviar(mensaje_pc);
        return;
    }

    switch (origen) //identifico el nodo
    {
        case ID_TANQUE:
            switch (comando)
            {
                case CMD_EVENTO_TANQUE_LLENADO_COMPLETO: //finalizo la dosificacion
                    if (comando_pendiente == CMD_PEDIR_EVENTO_TANQUE){
                        uint16_t secuencia_evento;
                        secuencia_evento = (uint16_t)( ((uint16_t)param_h << 8) |param_l);
                        ack_evento_tanque_pendiente = 1;
                        ack_evento_tanque_secuencia = secuencia_evento;

                        if ((ultima_secuencia_evento_tanque_valida == 0U) || (secuencia_evento != ultima_secuencia_evento_tanque)) {
                            ultima_secuencia_evento_tanque_valida = 1;
                            ultima_secuencia_evento_tanque = secuencia_evento;

                            if (estado_maestro == M_ACTIVO) {
                                continuar_cinta_automatico_pendiente = 1;
                                PC_Enviar(  "\r\n*** AVISO TANQUE: ""LLENADO COMPLETADO ***\r\n");
                                PC_Enviar( "El maestro ordenara automaticamente ""a la cinta continuar con el pesaje.\r\n" );
                            }
                        }
                        respuesta_aceptada = 1U;
                    }
                    break;

                case CMD_RESP_SIN_EVENTO: //no hay eventos
                    if (comando_pendiente == CMD_PEDIR_EVENTO_TANQUE){
                        respuesta_aceptada = 1U;
                    }
                    break;

                case CMD_PONG:
                    if ((comando_pendiente == CMD_PING) &&(param_h == PING_PARAM_H) && (param_l == PING_PARAM_L)){
                        PC_Enviar( "RX <- TANQUE: PONG CORRECTO\r\n" );
                        respuesta_aceptada = 1U;
                    }
                    break;

                case CMD_RESP_ESTADO_TANQUE: //estado tanque
                    if (comando_pendiente ==CMD_PEDIR_ESTADO_TANQUE) {
                        if (flag_consulta_supervision == 0) { // consulta manual
                            (void)snprintf( mensaje_pc, sizeof(mensaje_pc), "TANQUE: NIVEL=%u cm,ALARMA=%s\r\n", param_l, Maestro_Nombre_Alarma_Tanque(param_h));
                            PC_Enviar(mensaje_pc);
                        }
                        if (param_h != 0U) // alarma
                        {
                            Maestro_Entrar_Alarma( Maestro_Nombre_Alarma_Tanque(param_h) );
                        }
                        respuesta_aceptada = 1;
                    }
                    break;

                case CMD_RESP_ESTADO_DOSIF:
                    if (comando_pendiente ==CMD_PEDIR_ESTADO_DOSIF){
                        (void)snprintf(mensaje_pc, sizeof(mensaje_pc), "DOSIF: ESTADO=%s,BOTELLA=%s\r\n",Maestro_Nombre_Estado_Dosificador(param_h),Maestro_Nombre_Presencia_Botella(param_l));
                        PC_Enviar(mensaje_pc);
                        respuesta_aceptada = 1;
                    }
                    break;

                case CMD_RESP_ACK:
                case CMD_RESP_NACK:
                    respuesta_aceptada =Maestro_Procesar_ACK_NACK(origen,comando, param_h, param_l);
                    break;

                default:
                    break;
            }

            break;

        case ID_CINTA:
            switch (comando)
            {
                case CMD_EVENTO_CINTA_ESPERANDO_MAESTRO: //botella esperando maestro
                    if (comando_pendiente ==CMD_PEDIR_EVENTO_CINTA) {
                        uint16_t secuencia_evento;
                        secuencia_evento =(uint16_t)(((uint16_t)param_h << 8) | param_l);
                        ack_evento_cinta_pendiente = 1; //confirmamos evento
                        ack_evento_cinta_secuencia =secuencia_evento;

                        if ((ultima_secuencia_evento_cinta_valida == 0) || (secuencia_evento != ultima_secuencia_evento_cinta)) {
                            ultima_secuencia_evento_cinta_valida = 1; //evitamos eventos repetidos
                            ultima_secuencia_evento_cinta = secuencia_evento;
                            peso_evento_ciclo_actual_mostrado = 0;

                            if (estado_maestro == M_ACTIVO){
                                inicio_dosif_automatico_pendiente = 1;
                                PC_Enviar(  "\r\n*** AVISO CINTA: " "OBJETO DETECTADO, " "ESPERANDO AL DOSIFICADOR ***\r\n"  );
                                PC_Enviar( "El maestro iniciara automaticamente " "el llenado.\r\n" );
                            }
                        }
                        respuesta_aceptada = 1;
                    }

                    break;

                case CMD_EVENTO_CINTA_PESAJE_COMPLETO: // se completo el pesaje
                    if (comando_pendiente == CMD_PEDIR_EVENTO_CINTA)  {
                        uint16_t peso_decigramos;
                        peso_decigramos = (uint16_t)(((uint16_t)param_h << 8) | param_l );
                        ack_evento_peso_cinta_pendiente = 1; //confirmamos el evento
                        ack_evento_peso_cinta_valor = peso_decigramos;

                        if (peso_evento_ciclo_actual_mostrado == 0) {
                        	peso_evento_ciclo_actual_mostrado = 1U;
                            (void)snprintf(mensaje_pc,sizeof(mensaje_pc), "\r\n*** PESAJE COMPLETADO: " "%u,%u g ***\r\n", (unsigned int)(peso_decigramos / 10U),(unsigned int)(peso_decigramos % 10U));
                            PC_Enviar(mensaje_pc);
                        }
                        respuesta_aceptada = 1;
                    }
                    break;

                case CMD_RESP_SIN_EVENTO: //no hay eventos
                    if (comando_pendiente ==CMD_PEDIR_EVENTO_CINTA) {
                        respuesta_aceptada = 1;
                    }
                    break;

                case CMD_PONG:
                    if ((comando_pendiente == CMD_PING) &&(param_h == PING_PARAM_H) &&(param_l == PING_PARAM_L)) {
                        PC_Enviar("RX <- CINTA: PONG CORRECTO\r\n" );
                        respuesta_aceptada = 1;
                    }
                    break;

                case CMD_RESP_ESTADO_CINTA:
                    if (comando_pendiente ==CMD_PEDIR_ESTADO_CINTA){
                        if (flag_consulta_supervision == 0){ //consulta manual
                            (void)snprintf(  mensaje_pc, sizeof(mensaje_pc), "CINTA: ESTADO=%s,SUBESTADO=%s\r\n",
                            		Maestro_Nombre_Estado_Cinta(param_h),  Maestro_Nombre_Subestado_Cinta(param_l) );
                            PC_Enviar(mensaje_pc);
                        }

                        if (param_h == 3U){ //error en la cinta
                            Maestro_Entrar_Alarma( "ERROR CINTA" );
                        }
                        respuesta_aceptada = 1U;
                    }
                    break;

                case CMD_RESP_ACK:
                case CMD_RESP_NACK:
                    respuesta_aceptada = Maestro_Procesar_ACK_NACK(origen,comando,param_h,param_l );
                    break;

                default: //comando invalido
                    break;
            }
            break;

        default:// nodo invalido
            (void)snprintf( mensaje_pc, sizeof(mensaje_pc), "ERROR: ORIGEN RS485 INVALIDO=%u\r\n", origen );
            PC_Enviar(mensaje_pc);
            return;
    }
    if (respuesta_aceptada != 0) { //respuesta valida
        esperando_respuesta = 0U;
        nodo_esperado = 0U;
        comando_pendiente = 0U;
        valor_pendiente = 0U;

        flag_consulta_supervision = 0U;

        timeout_respuesta_ms = RESPUESTA_TIMEOUT_MS;
    } else { //comando no valido
        (void)snprintf( mensaje_pc, sizeof(mensaje_pc),"COMANDO NO ESPERADO: ORIGEN=%u CMD=0x%02X H=0x%02X L=0x%02X\r\n",
            origen,comando, param_h, param_l );
        PC_Enviar(mensaje_pc);
    }
}

static uint8_t Maestro_Procesar_ACK_NACK(uint8_t origen,uint8_t comando,uint8_t param_h,uint8_t param_l)
{

    if ((comando != CMD_RESP_ACK) && (comando != CMD_RESP_NACK)){
        return 0;
    }

    if (param_h != comando_pendiente){ //se verifica que se recibio el comando correcto
        return 0;
    }

    if (comando == CMD_RESP_ACK) {
        switch (param_h)
        {
            case CMD_TANQUE_SETPOINT:
                (void)snprintf( mensaje_pc, sizeof(mensaje_pc),"ACK <- TANQUE: SETPOINT=%u cm\r\n",(unsigned int)valor_pendiente);
                break;

            case CMD_TANQUE_RECETA:
                if (ciclo_esperando_receta != 0U) {
                    inicio_dosif_automatico_pendiente = 1U;
                    (void)snprintf(mensaje_pc, sizeof(mensaje_pc),"ACK <- TANQUE: RECETA=%u ml\r\n"
                        "Se reintentara automaticamente el llenado de la botella pendiente.\r\n", (unsigned int)valor_pendiente );
                }  else {
                    (void)snprintf( mensaje_pc, sizeof(mensaje_pc),"ACK <- TANQUE: RECETA=%u ml\r\n", (unsigned int)valor_pendiente );
                }
                break;

            case CMD_TANQUE_CONTROL_DOSIF:
                inicio_dosif_automatico_pendiente = 0U;
                ciclo_esperando_receta = 0U;

                if (valor_pendiente == 0U){
                    (void)snprintf(mensaje_pc, sizeof(mensaje_pc), "ACK <- TANQUE: DOSIFICACION ABORTADA\r\n" );
                } else if (param_l == ACK_ESPERANDO_BOTELLA)  {
                    (void)snprintf( mensaje_pc, sizeof(mensaje_pc), "ACK <- TANQUE: ESPERANDO BOTELLA\r\n");
                } else {
                    (void)snprintf(mensaje_pc, sizeof(mensaje_pc),"ACK <- TANQUE: DOSIFICACION INICIADA\r\n"  );
                }
                break;

            case CMD_TANQUE_RESET_ALARMA:
                (void)snprintf(mensaje_pc, sizeof(mensaje_pc), "ACK <- TANQUE: ALARMA RESETEADA\r\n");
                break;

            case CMD_CINTA_CONFIGURAR:
                (void)snprintf(mensaje_pc, sizeof(mensaje_pc),"ACK <- CINTA: MODO CONFIGURACION\r\n" );
                break;

            case CMD_CINTA_TARA:
                (void)snprintf( mensaje_pc, sizeof(mensaje_pc), "ACK <- CINTA: TARA COMPLETADA\r\n");
                break;

            case CMD_CINTA_CALIBRAR:
                (void)snprintf(mensaje_pc,sizeof(mensaje_pc), "ACK <- CINTA: CALIBRADA CON %u g\r\n", (unsigned int)valor_pendiente);
                break;

            case CMD_CINTA_ACTIVAR:
                (void)snprintf( mensaje_pc,sizeof(mensaje_pc),(valor_pendiente == 1U)? "ACK <- CINTA: ACTIVADA\r\n": "ACK <- CINTA: DESACTIVADA\r\n"  );
                break;

            case CMD_CINTA_CONTROL_BANDA:
                if (valor_pendiente == 0U) {
                	(void)snprintf(mensaje_pc,sizeof(mensaje_pc),"ACK <- CINTA: BANDA DETENIENDOSE\r\n");
                } else {
                    (void)snprintf( mensaje_pc, sizeof(mensaje_pc), "ACK <- CINTA: BANDA ARRANCANDO\r\n" );
                }
                break;

            case CMD_CINTA_CONTINUAR_PESAJE:
                (void)snprintf( mensaje_pc,sizeof(mensaje_pc),"ACK <- CINTA: CONTINUAR PESAJE\r\n" );
                break;

            default:
                (void)snprintf( mensaje_pc,sizeof(mensaje_pc),"ACK <- NODO %u: CMD=0x%02X CODIGO=%u\r\n",origen, param_h,param_l );
                break;
        }
    } else { //llego un NACK

        if ((origen == ID_TANQUE) &&(param_h == CMD_TANQUE_CONTROL_DOSIF) && //no habia receta
            (param_l == NACK_SIN_RECETA) &&(inicio_dosif_automatico_pendiente != 0))  {

            inicio_dosif_automatico_pendiente = 0;
            ciclo_esperando_receta = 1;
            (void)snprintf(mensaje_pc, sizeof(mensaje_pc),"\r\nERROR: HAY UNA BOTELLA ESPERANDO. "
                "CONFIGURE LA RECETA CON :TRxxx\r\n" );
        } else { //fallo inicio de dosificacion automatico, aborto
            if ((origen == ID_TANQUE) && (param_h == CMD_TANQUE_CONTROL_DOSIF) &&
                (inicio_dosif_automatico_pendiente != 0U)){
                inicio_dosif_automatico_pendiente = 0;
                ciclo_esperando_receta = 0;
            }

            (void)snprintf(  mensaje_pc, sizeof(mensaje_pc), "NACK <- %s: %s,ERROR=%s\r\n",(origen == ID_TANQUE) ? "TANQUE" : "CINTA",
                Maestro_Nombre_Comando(param_h), Maestro_Descripcion_Error(param_l));
        }
    }
    PC_Enviar(mensaje_pc);
    return 1;
}

static void Maestro_Procesar_Timeout(void)
{
    if (esperando_respuesta == 0U){
        return;
    }

    if ((HAL_GetTick() - tick_respuesta) < timeout_respuesta_ms){
        return;
    }
//hay timeout
    if (flag_consulta_supervision != 0U){
    	//era por polling,no hacer nada
    } else if (parada_sistema_etapa != 0U) {
            PC_Enviar("ERROR: TIMEOUT DURANTE LA PARADA DEL SISTEMA\r\n");
    } else {
        switch (comando_pendiente)
        {
            case CMD_PEDIR_EVENTO_CINTA: // era por polling,no hacer nada
            case CMD_PEDIR_EVENTO_TANQUE:
                break;

            case CMD_TANQUE_CONTROL_DOSIF:
                if (valor_pendiente == 1U){
                    inicio_dosif_automatico_pendiente = 0U;
                    PC_Enviar("ERROR: TIMEOUT AL INICIAR DOSIFICACION. " "REINTENTE CON :TI1\r\n");
                } else {
                    PC_Enviar( "ERROR: TIMEOUT AL ABORTAR DOSIFICACION. " "REINTENTE CON :TI0\r\n");
                }
                break;

            case CMD_CINTA_CONTINUAR_PESAJE:
                continuar_cinta_automatico_pendiente = 0U;
                PC_Enviar( "ERROR: TIMEOUT AL CONTINUAR EL PESAJE. ""REINTENTE CON :CD1\r\n" );
                break;

            default:
                PC_Enviar("ERROR: TIMEOUT, EL NODO NO RESPONDIO\r\n" );
                break;
        }
    }
    esperando_respuesta = 0U;
    nodo_esperado = 0U;
    comando_pendiente = 0U;
    valor_pendiente = 0U;
    flag_consulta_supervision = 0U;

    timeout_respuesta_ms = RESPUESTA_TIMEOUT_MS;
}

static const char *Maestro_Nombre_Comando(uint8_t comando) //convertir números binarios del protocolo en textos
//no controlan la máquina ni modifican la comunicación. Solo traducen códigos a texto.
{
    switch (comando) //recibe el codigo numerico de un comando del protocolo
    {
        case CMD_TANQUE_SETPOINT:
            return "SETPOINT";

        case CMD_TANQUE_RECETA:
            return "RECETA";

        case CMD_TANQUE_CONTROL_DOSIF:
            return "DOSIFICACION";

        case CMD_TANQUE_RESET_ALARMA:
            return "RESET_ALARMA";

        case CMD_CINTA_CONFIGURAR:
            return "CONFIGURAR_CINTA";

        case CMD_CINTA_TARA:
            return "TARA";

        case CMD_CINTA_CALIBRAR:
            return "CALIBRACION";

        case CMD_CINTA_ACTIVAR:
            return "ACTIVAR_CINTA";

        case CMD_CINTA_CONTROL_BANDA:
            return "CONTROL_BANDA";

        case CMD_CINTA_CONTINUAR_PESAJE:
            return "CONTINUAR_PESAJE";

        default:
            return "DESCONOCIDO";
    }
}

static const char *Maestro_Descripcion_Error(uint8_t codigo) //el esclavo recibió correctamente la trama, pero no pudo o no quiso ejecutar la orden.
{
    switch (codigo)
    {
        case NACK_PARAMETRO_INVALIDO:
            return "PARAMETRO_INVALIDO";

        case NACK_FUERA_DE_RANGO:
            return "FUERA_DE_RANGO";

        case NACK_OCUPADO:
            return "OCUPADO";

        case NACK_ALARMA_ACTIVA:
            return "ALARMA_ACTIVA";

        case NACK_SIN_RECETA:
            return "SIN_RECETA";

        case NACK_RETIRE_BOTELLA:
            return "RETIRE_BOTELLA";

        case NACK_COMANDO_NO_SOPORTADO:
            return "COMANDO_NO_SOPORTADO";

        case NACK_ESTADO_INVALIDO:
            return "ESTADO_INVALIDO";

        case NACK_SENSOR:
            return "ERROR_SENSOR";

        case NACK_SIN_TARA:
            return "SIN_TARA";

        case NACK_SIN_CONFIGURACION:
            return "SIN_CONFIGURACION";

        default:
            return "ERROR_DESCONOCIDO";
    }
}

static const char *Maestro_Nombre_Alarma_Tanque(uint8_t alarma)
{
    switch (alarma)
    {
        case 0:
            return "SIN_ERROR";

        case 1:
            return "MARCHA_EN_SECO";

        case 2:
            return "REBOSE";

        case 3:
            return "ERROR_SENSOR_NIVEL";

        default:
            return "ALARMA_DESCONOCIDA";
    }
}

static const char *Maestro_Nombre_Estado_Dosificador(uint8_t estado)
{
    switch (estado)
    {
        case 0:
            return "ESPERANDO_BOTELLA";

        case 1:
            return "ESPERANDO_INICIO";

        case 2:
            return "LLENANDO";

        case 3:
            return "BOTELLA_LLENA";

        default:
            return "ESTADO_DESCONOCIDO";
    }
}

static const char *Maestro_Nombre_Presencia_Botella(uint8_t presente)
{
    switch (presente)
    {
        case 0:
            return "AUSENTE";

        case 1:
            return "PRESENTE";

        default:
            return "DESCONOCIDA";
    }
}

static const char *Maestro_Nombre_Estado_Cinta(uint8_t estado)
{
    switch (estado)
    {
        case 0:
            return "DESACTIVADA";

        case 1:
            return "CONFIGURANDO";

        case 2:
            return "ACTIVADA";

        case 3:
            return "ERROR";

        default:
            return "ESTADO_DESCONOCIDO";
    }
}

static const char *Maestro_Nombre_Subestado_Cinta(uint8_t subestado)
{
    switch (subestado)
    {
        case 0:
            return "ANDANDO";

        case 1:
            return "PESANDO";

        case 2:
            return "DETENIDA";

        case 3:
            return "ESPERANDO_REINICIO";

        case 4:
            return "ACELERANDO";

        case 5:
            return "DESACELERANDO";

        case 6:
            return "ESPERANDO_MAESTRO";

        default:
            return "SUBESTADO_DESCONOCIDO";
    }
}

void HAL_UART_RxCpltCallback(UART_HandleTypeDef *huart)
{
    if (huart->Instance == USART1)
    {
        char dato = (char)pc_rx_byte;

        if (dato == ':') //si llega ':'
        {
            pc_cmd_indice = 0;
            pc_recibiendo = 1;
            pc_comando_listo = 0;
            pc_cmd_buffer[0] = '\0';  //no guardamos los ':'
        }
        else if (pc_recibiendo == 1)
        {
            if ((dato == '\r') || (dato == '\n'))
            {
                pc_cmd_buffer[pc_cmd_indice] = '\0';
                pc_recibiendo = 0;
                pc_comando_listo = 1;
            }
            else if (pc_cmd_indice < (PC_CMD_BUFFER_SIZE - 1)) //dejamos un lugar para guardar el '\0'
            {
                pc_cmd_buffer[pc_cmd_indice++] = dato;
            }
            else
            {
                pc_cmd_indice = 0;
                pc_recibiendo = 0;
                pc_comando_listo = 0;
            }
        }

        (void)HAL_UART_Receive_IT(&huart1, &pc_rx_byte, 1);  //volvemos a activar para prcesar el siguiente caracter
    }
    else if (huart->Instance == USART3)
    {
        RS485_Rx_Callback(huart);
    }
}

void HAL_UART_ErrorCallback(UART_HandleTypeDef *huart)
{
    if (huart->Instance == USART1)
    {
        __HAL_UART_CLEAR_OREFLAG(huart);
        huart->ErrorCode = HAL_UART_ERROR_NONE;
        huart->RxState = HAL_UART_STATE_READY;
        __HAL_UNLOCK(huart);

        pc_recibiendo = 0U;
        pc_cmd_indice = 0U;

        (void)HAL_UART_Receive_IT(&huart1, &pc_rx_byte, 1U);
    }
    else if (huart->Instance == USART3)
    {
        RS485_Error_Callback(huart);
    }
}

/* USER CODE END 4 */

void Error_Handler(void)
{
  __disable_irq();
  while (1)
  {
  }
}
